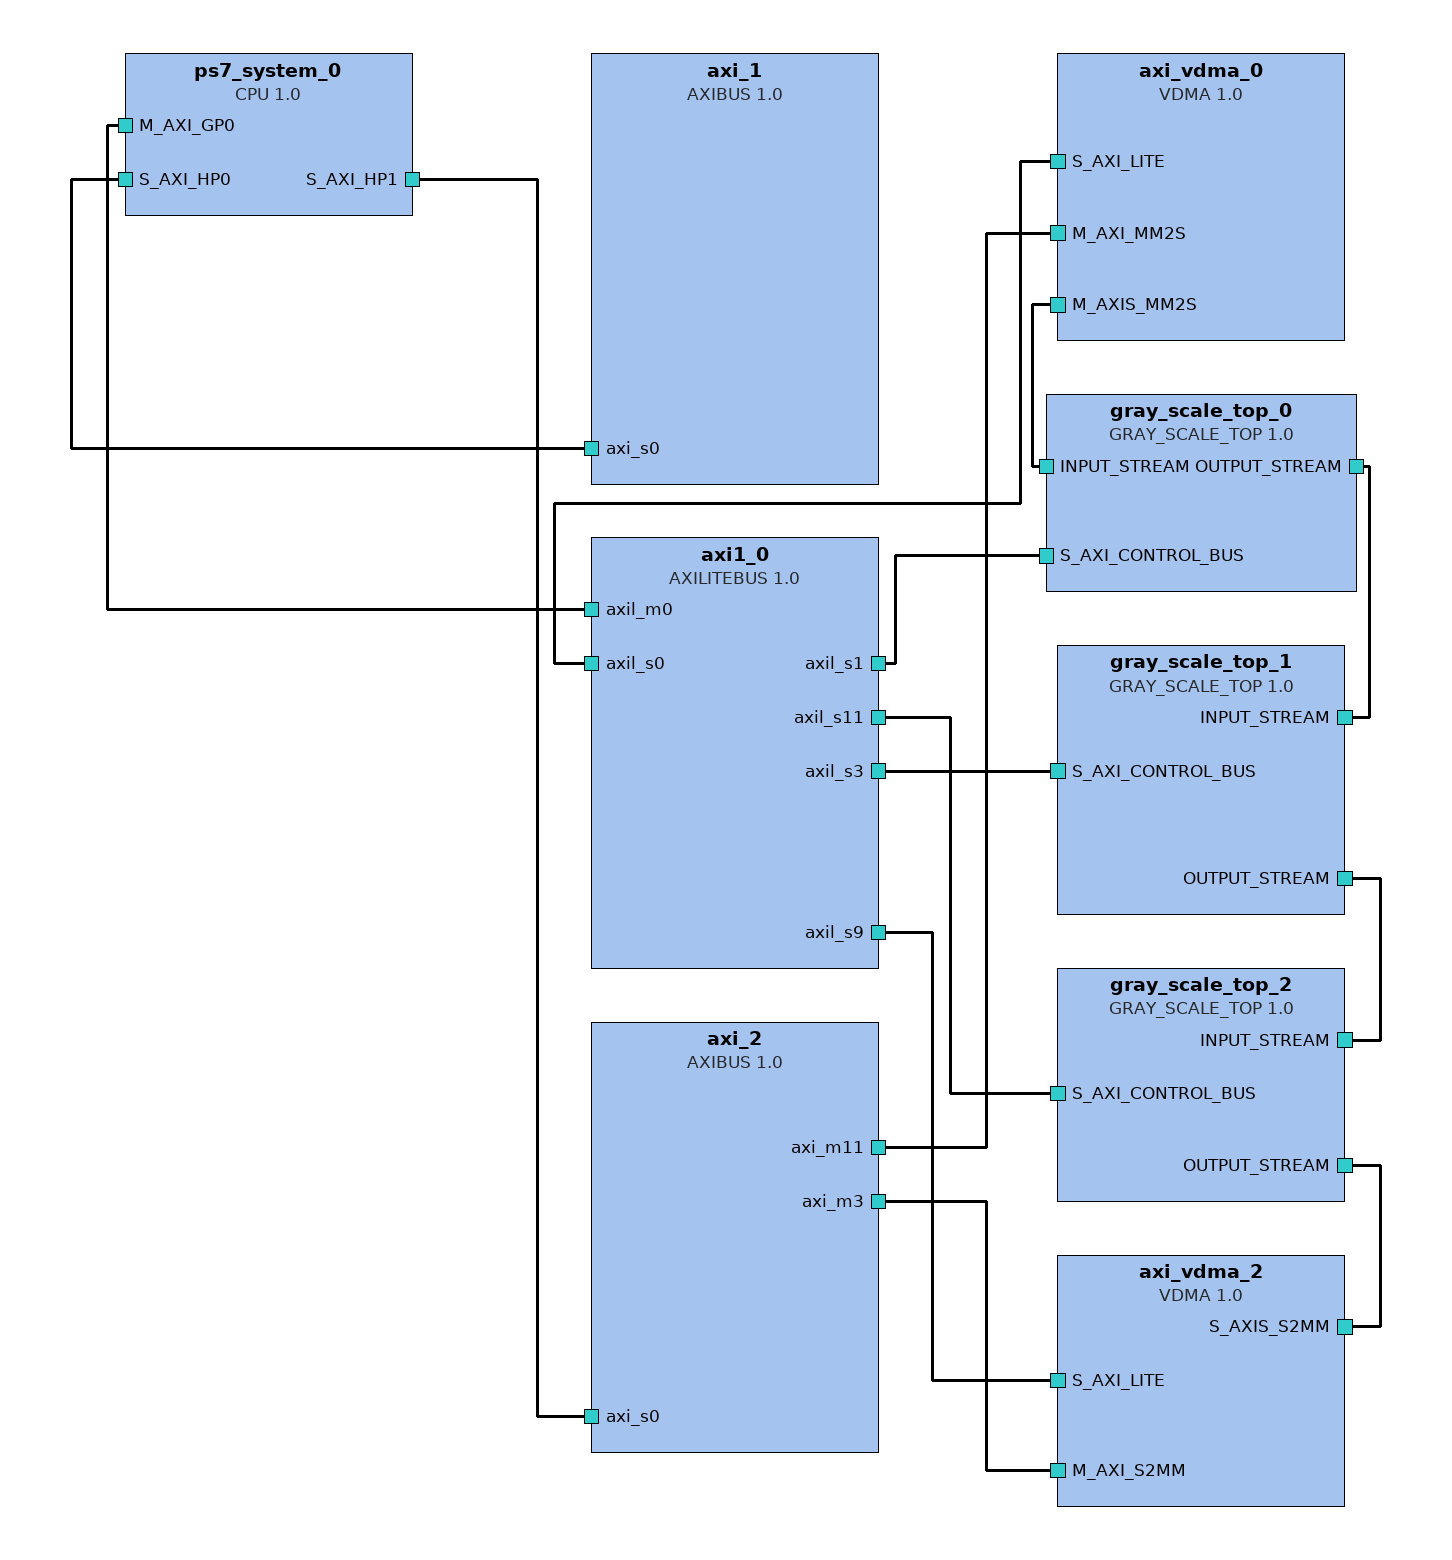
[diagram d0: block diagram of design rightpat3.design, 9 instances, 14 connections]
<?xml version="1.0" encoding="UTF-8"?>
<!-- Created by Kactus215:16:51 18.06.2014 -->
<spirit:design xmlns:kactus2="http://funbase.cs.tut.fi/" xmlns:spirit="http://www.spiritconsortium.org/XMLSchema/SPIRIT/1.5" xmlns:xsi="http://www.w3.org/2001/XMLSchema-instance" xsi:schemaLocation="http://www.spiritconsortium.org/XMLSchema/SPIRIT/1.5 http://www.spiritconsortium.org/XMLSchema/SPIRIT/1.5/index.xsd"><spirit:vendor>ARM</spirit:vendor><spirit:library>design</spirit:library><spirit:name>rightpat3.design</spirit:name>
 <spirit:version>1.0</spirit:version><spirit:componentInstances>
 <spirit:componentInstance><spirit:instanceName>axi_vdma_2</spirit:instanceName><spirit:componentRef spirit:vendor="ARM" spirit:library="ip" spirit:name="VDMA" spirit:version="1.0"/></spirit:componentInstance>
 <spirit:componentInstance><spirit:instanceName>gray_scale_top_2</spirit:instanceName><spirit:componentRef spirit:vendor="ARM" spirit:library="ip" spirit:name="GRAY_SCALE_TOP" spirit:version="1.0"/></spirit:componentInstance>
 <spirit:componentInstance><spirit:instanceName>axi_vdma_0</spirit:instanceName><spirit:componentRef spirit:vendor="ARM" spirit:library="ip" spirit:name="VDMA" spirit:version="1.0"/></spirit:componentInstance>
 <spirit:componentInstance><spirit:instanceName>gray_scale_top_0</spirit:instanceName><spirit:componentRef spirit:vendor="ARM" spirit:library="ip" spirit:name="GRAY_SCALE_TOP" spirit:version="1.0"/></spirit:componentInstance>
 <spirit:componentInstance><spirit:instanceName>gray_scale_top_1</spirit:instanceName><spirit:componentRef spirit:vendor="ARM" spirit:library="ip" spirit:name="GRAY_SCALE_TOP" spirit:version="1.0"/></spirit:componentInstance>
 <spirit:componentInstance><spirit:instanceName>axi1_0</spirit:instanceName><spirit:componentRef spirit:vendor="ARM" spirit:library="bus" spirit:name="AXILITEBUS" spirit:version="1.0"/></spirit:componentInstance>
 <spirit:componentInstance><spirit:instanceName>axi_1</spirit:instanceName><spirit:componentRef spirit:vendor="ARM" spirit:library="bus" spirit:name="AXIBUS" spirit:version="1.0"/></spirit:componentInstance>
 <spirit:componentInstance><spirit:instanceName>axi_2</spirit:instanceName><spirit:componentRef spirit:vendor="ARM" spirit:library="bus" spirit:name="AXIBUS" spirit:version="1.0"/></spirit:componentInstance>
 <spirit:componentInstance><spirit:instanceName>ps7_system_0</spirit:instanceName><spirit:componentRef spirit:vendor="ARM" spirit:library="ip" spirit:name="CPU" spirit:version="1.0"/></spirit:componentInstance>
</spirit:componentInstances><spirit:interconnections>
 <spirit:interconnection><spirit:name>axi_vdma_0_M_AXI_MM2S_to_axi_2_axi_m11</spirit:name><spirit:activeInterface spirit:componentRef="axi_vdma_0" spirit:busRef="M_AXI_MM2S"/><spirit:activeInterface spirit:componentRef="axi_2" spirit:busRef="axi_m11"/></spirit:interconnection>
 <spirit:interconnection><spirit:name>axi_vdma_2_M_AXI_S2MM_to_axi_2_axi_m3</spirit:name><spirit:activeInterface spirit:componentRef="axi_vdma_2" spirit:busRef="M_AXI_S2MM"/><spirit:activeInterface spirit:componentRef="axi_2" spirit:busRef="axi_m3"/></spirit:interconnection>
 <spirit:interconnection><spirit:name>axi_vdma_2_S_AXI_LITE_to_axi1_0_axil_s9</spirit:name><spirit:activeInterface spirit:componentRef="axi_vdma_2" spirit:busRef="S_AXI_LITE"/><spirit:activeInterface spirit:componentRef="axi1_0" spirit:busRef="axil_s9"/></spirit:interconnection>
 <spirit:interconnection><spirit:name>gray_scale_top_2_OUTPUT_STREAM_to_axi_vdma_2_S_AXIS_S2MM</spirit:name><spirit:activeInterface spirit:componentRef="gray_scale_top_2" spirit:busRef="OUTPUT_STREAM"/><spirit:activeInterface spirit:componentRef="axi_vdma_2" spirit:busRef="S_AXIS_S2MM"/></spirit:interconnection>
 <spirit:interconnection><spirit:name>gray_scale_top_2_S_AXI_CONTROL_BUS_to_axi1_0_axil_s11</spirit:name><spirit:activeInterface spirit:componentRef="gray_scale_top_2" spirit:busRef="S_AXI_CONTROL_BUS"/><spirit:activeInterface spirit:componentRef="axi1_0" spirit:busRef="axil_s11"/></spirit:interconnection>
 <spirit:interconnection><spirit:name>ps7_system_0_M_AXI_GP0_to_axi1_0_axil_m0</spirit:name><spirit:activeInterface spirit:componentRef="ps7_system_0" spirit:busRef="M_AXI_GP0"/><spirit:activeInterface spirit:componentRef="axi1_0" spirit:busRef="axil_m0"/></spirit:interconnection>
 <spirit:interconnection><spirit:name>ps7_system_0_S_AXI_HP0_to_axi_1_axi_s0</spirit:name><spirit:activeInterface spirit:componentRef="ps7_system_0" spirit:busRef="S_AXI_HP0"/><spirit:activeInterface spirit:componentRef="axi_1" spirit:busRef="axi_s0"/></spirit:interconnection>
 <spirit:interconnection><spirit:name>ps7_system_0_S_AXI_HP1_to_axi_2_axi_s0</spirit:name><spirit:activeInterface spirit:componentRef="ps7_system_0" spirit:busRef="S_AXI_HP1"/><spirit:activeInterface spirit:componentRef="axi_2" spirit:busRef="axi_s0"/></spirit:interconnection>
 <spirit:interconnection><spirit:name>axi_vdma_0_S_AXI_LITE_to_axi1_0_axil_s0</spirit:name><spirit:activeInterface spirit:componentRef="axi_vdma_0" spirit:busRef="S_AXI_LITE"/><spirit:activeInterface spirit:componentRef="axi1_0" spirit:busRef="axil_s0"/></spirit:interconnection>
 <spirit:interconnection><spirit:name>gray_scale_top_0_S_AXI_CONTROL_BUS_to_axi1_0_axil_s1</spirit:name><spirit:activeInterface spirit:componentRef="gray_scale_top_0" spirit:busRef="S_AXI_CONTROL_BUS"/><spirit:activeInterface spirit:componentRef="axi1_0" spirit:busRef="axil_s1"/></spirit:interconnection>
 <spirit:interconnection><spirit:name>gray_scale_top_0_INPUT_STREAM_to_axi_vdma_0_M_AXIS_MM2S</spirit:name><spirit:activeInterface spirit:componentRef="gray_scale_top_0" spirit:busRef="INPUT_STREAM"/><spirit:activeInterface spirit:componentRef="axi_vdma_0" spirit:busRef="M_AXIS_MM2S"/></spirit:interconnection>
 <spirit:interconnection><spirit:name>gray_scale_top_0_OUTPUT_STREAM_to_gray_scale_top_1_INPUT_STREAM</spirit:name><spirit:activeInterface spirit:componentRef="gray_scale_top_0" spirit:busRef="OUTPUT_STREAM"/><spirit:activeInterface spirit:componentRef="gray_scale_top_1" spirit:busRef="INPUT_STREAM"/></spirit:interconnection>
 <spirit:interconnection><spirit:name>gray_scale_top_1_OUTPUT_STREAM_to_gray_scale_top_2_INPUT_STREAM</spirit:name><spirit:activeInterface spirit:componentRef="gray_scale_top_1" spirit:busRef="OUTPUT_STREAM"/><spirit:activeInterface spirit:componentRef="gray_scale_top_2" spirit:busRef="INPUT_STREAM"/></spirit:interconnection>
 <spirit:interconnection><spirit:name>gray_scale_top_1_S_AXI_CONTROL_BUS_to_axi1_0_axil_s3</spirit:name><spirit:activeInterface spirit:componentRef="gray_scale_top_1" spirit:busRef="S_AXI_CONTROL_BUS"/><spirit:activeInterface spirit:componentRef="axi1_0" spirit:busRef="axil_s3"/></spirit:interconnection>
</spirit:interconnections></spirit:design>

